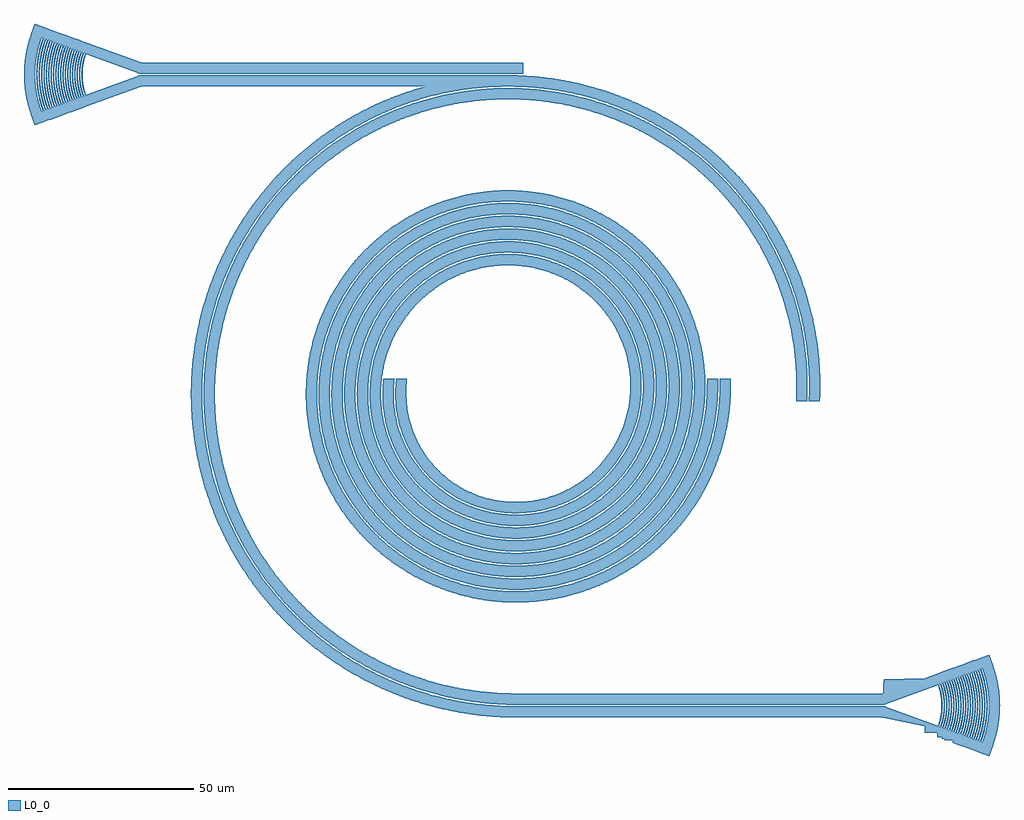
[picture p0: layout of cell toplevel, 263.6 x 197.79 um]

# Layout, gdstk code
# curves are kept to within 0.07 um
import gdstk
lib = gdstk.Library(unit=1e-6, precision=1e-09)
def P(c, l, *ps):  # polygons
    for p in ps: c.add(gdstk.Polygon(p, *l))
L0_0 = (0, 0)

toplevel = lib.new_cell('toplevel')
P(toplevel, L0_0, [(100.41,-139.581),(95.023,-139.246),(90.012,-138.443),(85.098,-137.174),(80.325,-135.451),(78.004,-134.423),(75.287,-133.046),(70.946,-130.418),(66.872,-127.392),(63.101,-123.995),(59.67,-120.256),(56.609,-116.207),(53.947,-111.887),(51.708,-107.332),(49.914,-102.584),(48.583,-97.687),(47.727,-92.684),(47.355,-87.622),(47.438,-83.055),(47.995,-78.01),(48.911,-73.535),(50.382,-68.677),(52.102,-64.445),(54.44,-59.94),(57.205,-55.684),(60.372,-51.717),(62.097,-49.855),(64.284,-47.735),(66.593,-45.747),(69.014,-43.899),(71.541,-42.197),(73.72,-40.895),(75.961,-39.701),(78.723,-38.417),(81.557,-37.299),(83.965,-36.497),(86.904,-35.694),(89.385,-35.159),(91.891,-34.747),(94.919,-34.419),(97.454,-34.284),(100.41,-34.286),(100.41,-31.285),(97.39,-31.285),(92.402,-31.656),(89.88,-32.023),(86.917,-32.61),(84.458,-33.23),(81.589,-34.111),(76.9,-35.941),(72.011,-38.416),(69.807,-39.745),(67.304,-41.435),(62.979,-44.876),(59.35,-48.387),(55.765,-52.596),(52.622,-57.142),(50.152,-61.573),(47.944,-66.617),(46.374,-71.4),(45.153,-76.819),(44.483,-82.296),(44.36,-87.831),(44.788,-93.351),(45.76,-98.802),(46.516,-101.726),(47.419,-104.578),(49.457,-109.647),(52.056,-114.628),(55.084,-119.249),(58.57,-123.573),(62.463,-127.533),(64.726,-129.511),(67.101,-131.374),(69.546,-133.09),(72.152,-134.719),(74.796,-136.181),(77.937,-137.69),(80.768,-138.854),(83.619,-139.853),(87.985,-141.065),(91.936,-141.849),(95.932,-142.352),(100.41,-142.581)],
  [(100.41,-132.682),(96.159,-132.43),(91.642,-131.735),(87.214,-130.608),(82.915,-129.057),(78.787,-127.096),(75.292,-125.023),(71.593,-122.34),(68.173,-119.308),(65.067,-115.955),(62.304,-112.315),(60.159,-108.864),(58.118,-104.774),(56.491,-100.503),(55.406,-96.588),(54.604,-92.088),(54.253,-87.531),(54.324,-83.468),(54.835,-78.926),(55.669,-74.95),(56.855,-71.063),(58.383,-67.298),(60.243,-63.685),(62.419,-60.254),(65.226,-56.646),(66.939,-54.771),(68.755,-52.995),(72.267,-50.068),(74.341,-48.602),(76.496,-47.256),(78.723,-46.035),(81.017,-44.942),(83.369,-43.983),(85.772,-43.159),(88.218,-42.474),(90.7,-41.931),(93.208,-41.53),(95.736,-41.275),(100.41,-41.188),(100.41,-38.187),(97.264,-38.191),(92.753,-38.565),(88.299,-39.371),(83.941,-40.598),(79.262,-42.443),(74.805,-44.771),(71.012,-47.266),(67.493,-50.094),(64.247,-53.25),(61.313,-56.698),(58.43,-60.865),(56.255,-64.793),(54.263,-69.412),(52.89,-73.726),(51.924,-78.149),(51.375,-82.643),(51.257,-87.672),(51.658,-92.686),(52.571,-97.633),(53.823,-101.984),(55.677,-106.66),(58.017,-111.155),(60.762,-115.326),(63.939,-119.227),(67.123,-122.446),(69.015,-124.105),(71.392,-125.967),(73.878,-127.681),(76.025,-128.992),(78.236,-130.193),(80.965,-131.485),(83.739,-132.601),(86.15,-133.418),(89.548,-134.346),(93.003,-135.033),(96.528,-135.48),(100.41,-135.682)],
  [(100.41,-125.784),(96.926,-125.575),(92.909,-124.954),(88.974,-123.932),(85.63,-122.715),(81.958,-120.97),(78.905,-119.144),(76.026,-117.053),(72.98,-114.36),(70.552,-111.76),(68.367,-108.952),(66.443,-105.958),(64.585,-102.342),(63.273,-99.034),(62.148,-95.127),(61.501,-91.628),(61.155,-87.577),(61.201,-84.019),(61.573,-80.48),(62.268,-76.99),(63.282,-73.579),(64.606,-70.276),(66.23,-67.109),(68.142,-64.108),(70.324,-61.297),(73.499,-58.003),(76.635,-55.415),(80.032,-53.178),(83.649,-51.32),(87.932,-49.711),(91.878,-48.728),(95.908,-48.179),(100.41,-48.089),(100.41,-45.089),(97.508,-45.084),(93.502,-45.425),(89.55,-46.162),(85.69,-47.29),(81.962,-48.794),(78.4,-50.659),(75.039,-52.867),(71.912,-55.394),(69.048,-58.216),(66.474,-61.305),(64.213,-64.63),(62.287,-68.16),(60.713,-71.86),(59.504,-75.695),(58.671,-79.629),(58.221,-83.625),(58.157,-87.646),(58.479,-91.655),(59.298,-96.104),(60.422,-99.965),(62.12,-104.158),(64.255,-108.147),(66.5,-111.484),(69.049,-114.594),(72.253,-117.788),(75.776,-120.626),(77.857,-122.038),(80.017,-123.325),(82.248,-124.484),(84.543,-125.511),(86.914,-126.41),(89.293,-127.156),(91.732,-127.769),(94.699,-128.316),(97.697,-128.656),(100.41,-128.783)],
  [(100.41,-118.886),(97.327,-118.681),(93.815,-118.095),(90.868,-117.297),(88.006,-116.233),(85.254,-114.911),(82.213,-113.057),(79.779,-111.215),(77.168,-108.791),(74.527,-105.695),(72.547,-102.734),(70.903,-99.574),(69.615,-96.254),(68.7,-92.811),(68.171,-89.288),(68.036,-85.729),(68.295,-82.2),(65.274,-82.2),(65.037,-85.749),(65.205,-89.762),(65.83,-93.729),(66.903,-97.6),(68.409,-101.324),(70.326,-104.854),(72.629,-108.145),(74.937,-110.797),(76.739,-112.546),(78.267,-113.852),(79.864,-115.071),(81.953,-116.465),(85.938,-118.597),(90.157,-120.217),(92.578,-120.886),(95.039,-121.387),(97.529,-121.717),(100.41,-121.884)],
  [(101.524,-135.685),(106.547,-135.392),(111.516,-134.602),(116.382,-133.323),(121.097,-131.57),(125.617,-129.36),(129.898,-126.715),(133.898,-123.663),(137.579,-120.233),(140.907,-116.459),(143.851,-112.379),(146.383,-108.031),(148.458,-103.513),(150.125,-98.701),(151.3,-93.808),(151.997,-88.825),(152.211,-83.798),(151.939,-78.773),(151.186,-73.798),(149.959,-68.917),(148.272,-64.177),(146.133,-59.607),(144.666,-57.008),(143.303,-54.865),(140.306,-50.822),(136.919,-47.062),(133.233,-43.678),(129.128,-40.575),(124.571,-37.789),(119.969,-35.561),(115.251,-33.807),(110.331,-32.49),(105.429,-31.661),(100.41,-31.285),(100.41,-34.286),(105.056,-34.637),(110.058,-35.502),(114.948,-36.863),(119.677,-38.707),(124.197,-41.017),(128.048,-43.476),(132.045,-46.605),(135.705,-50.123),(138.68,-53.591),(141.325,-57.317),(143.617,-61.269),(145.538,-65.415),(147.069,-69.72),(148.297,-74.646),(148.964,-79.166),(149.211,-83.729),(149.033,-88.295),(148.432,-92.824),(147.412,-97.278),(145.98,-101.618),(144.149,-105.804),(141.934,-109.801),(139.353,-113.572),(136.428,-117.083),(132.807,-120.642),(128.832,-123.8),(124.547,-126.523),(119.998,-128.778),(115.237,-130.539),(110.315,-131.786),(105.288,-132.503),(100.41,-132.682),(100.41,-135.682)],
  [(101.717,-128.784),(106.224,-128.487),(110.2,-127.829),(114.572,-126.66),(118.338,-125.248),(122.401,-123.256),(125.805,-121.158),(129.429,-118.408),(132.736,-115.319),(135.711,-111.909),(138.326,-108.216),(140.554,-104.277),(142.192,-100.602),(143.495,-96.796),(144.547,-92.395),(145.153,-87.91),(145.308,-83.387),(145.011,-78.871),(144.266,-74.406),(143.081,-70.038),(141.67,-66.271),(139.694,-62.199),(137.605,-58.754),(134.912,-55.123),(131.872,-51.77),(128.889,-49.038),(125.3,-46.314),(121.445,-43.942),(117.378,-41.956),(113.137,-40.373),(109.254,-39.318),(104.796,-38.533),(100.41,-38.187),(100.41,-41.188),(104.862,-41.567),(108.858,-42.304),(113.251,-43.571),(117.025,-45.078),(121.082,-47.185),(124.485,-49.407),(127.665,-51.938),(130.94,-55.128),(133.244,-57.837),(135.592,-61.155),(137.615,-64.68),(139.296,-68.38),(140.472,-71.737),(141.469,-75.677),(142.084,-79.695),(142.306,-83.245),(142.193,-87.308),(141.69,-91.341),(140.932,-94.817),(139.711,-98.693),(138.119,-102.434),(136.172,-106.002),(133.887,-109.364),(131.627,-112.11),(128.389,-115.34),(124.816,-118.192),(120.948,-120.632),(117.302,-122.429),(113.01,-124.008),(109.068,-125.001),(104.541,-125.644),(100.41,-125.784),(100.41,-128.783)],
  [(101.543,-121.889),(105.053,-121.678),(108.527,-121.133),(111.933,-120.26),(115.704,-118.872),(118.864,-117.33),(122.278,-115.211),(125.446,-112.738),(127.986,-110.306),(130.288,-107.648),(132.332,-104.786),(134.331,-101.3),(135.768,-98.09),(136.903,-94.761),(137.818,-90.848),(138.277,-87.361),(138.408,-83.344),(138.178,-79.834),(137.525,-75.868),(136.618,-72.47),(135.209,-68.705),(133.663,-65.546),(131.838,-62.539),(129.75,-59.708),(127.064,-56.717),(124.474,-54.337),(121.267,-51.913),(118.271,-50.069),(115.124,-48.498),(111.373,-47.052),(108.008,-46.108),(104.029,-45.389),(100.41,-45.089),(100.41,-48.089),(104.027,-48.414),(107.524,-49.076),(110.941,-50.071),(114.247,-51.392),(117.408,-53.027),(120.807,-55.262),(123.56,-57.518),(126.08,-60.033),(128.341,-62.782),(130.055,-65.307),(131.549,-67.967),(132.813,-70.745),(133.836,-73.62),(134.713,-77.07),(135.189,-80.085),(135.414,-83.638),(135.323,-86.688),(134.884,-90.221),(134.225,-93.201),(133.133,-96.59),(131.928,-99.394),(130.482,-102.082),(128.506,-105.043),(126.577,-107.41),(124.075,-109.943),(120.914,-112.504),(117.915,-114.425),(114.734,-116.024),(110.918,-117.435),(107.46,-118.288),(103.932,-118.774),(100.41,-118.886),(100.41,-121.884)],
  [(101.464,-142.584),(106.993,-142.282),(109.989,-141.893),(112.917,-141.357),(118.318,-139.946),(121.176,-138.967),(123.979,-137.84),(126.781,-136.538),(129.388,-135.156),(134.08,-132.21),(136.514,-130.419),(138.851,-128.505),(142.888,-124.666),(146.55,-120.446),(148.309,-118.092),(149.992,-115.583),(152.799,-110.637),(154.031,-108.042),(155.203,-105.211),(156.199,-102.404),(157.072,-99.479),(157.77,-96.611),(158.341,-93.604),(158.978,-88.06),(159.102,-85.084),(159.079,-82.2),(156.078,-82.2),(156.091,-85.6),(155.927,-88.641),(155.598,-91.668),(155.007,-95.171),(154.324,-98.139),(153.324,-101.548),(152.295,-104.414),(151.112,-107.22),(148.804,-111.739),(146.382,-115.611),(143.649,-119.271),(140.624,-122.693),(138.825,-124.483),(136.559,-126.518),(134.185,-128.426),(132.129,-129.913),(130.006,-131.304),(127.377,-132.842),(124.667,-134.232),(122.353,-135.273),(119.993,-136.207),(117.108,-137.181),(114.665,-137.87),(111.695,-138.545),(109.195,-138.981),(106.171,-139.349),(103.132,-139.548),(100.41,-139.581),(100.41,-142.581)],
  [(-22.689,-0.162),(-22.614,-1.857),(-22.412,-3.542),(-22.085,-5.206),(-21.636,-6.836),(-21.636,-5.799),(-22.002,-4.204),(-22.255,-2.548),(-22.364,-1.276),(-22.4,-0.08),(-22.364,1.276),(-22.264,2.468),(-22.017,4.125),(-21.636,5.799),(-21.636,6.836),(-22.085,5.206),(-22.437,3.382),(-22.627,1.696)],
  [(-22.049,-0.157),(-21.956,-2.039),(-21.827,-3.131),(-21.636,-4.251),(-21.636,-2.321),(-21.725,-1.239),(-21.76,-0.078),(-21.733,1.085),(-21.636,2.321),(-21.636,4.251),(-21.827,3.131),(-21.956,2.039),(-22.03,0.942)],
  [(-23.039,0.164),(-22.934,2.212),(-22.676,4.082),(-22.223,6.082),(-21.636,7.875),(-21.636,11.068),(-28.854,13.697),(-30.355,9.478),(-31.125,6.522),(-31.641,3.174),(-31.8,-0.103),(-28.8,-0.103),(-28.695,2.459),(-28.38,4.9),(-27.832,7.404),(-27.063,9.85),(-26.734,9.73),(-27.494,7.314),(-28.018,4.94),(-28.355,2.328),(-28.45,-0.1),(-28.16,-0.1),(-28.01,2.904),(-27.582,5.678),(-27.08,7.723),(-26.462,9.631),(-26.133,9.512),(-26.85,7.246),(-27.405,4.732),(-27.717,2.276),(-27.81,-0.098),(-27.52,-0.098),(-27.393,2.643),(-26.955,5.549),(-26.465,7.548),(-25.86,9.412),(-25.531,9.293),(-26.232,7.079),(-26.774,4.623),(-27.071,2.32),(-27.17,-0.096),(-26.88,-0.096),(-26.737,2.772),(-26.328,5.42),(-25.823,7.464),(-25.259,9.194),(-24.93,9.074),(-25.614,6.912),(-26.127,4.607),(-26.425,2.359),(-26.53,-0.093),(-26.24,-0.093),(-26.128,2.427),(-25.825,4.649),(-25.334,6.837),(-24.658,8.975),(-24.329,8.855),(-25.02,6.656),(-25.513,4.405),(-25.811,2.027),(-25.89,-0.091),(-25.6,-0.091),(-25.507,2.186),(-25.227,4.356),(-24.763,6.494),(-24.056,8.756),(-23.727,8.636),(-24.378,6.579),(-24.882,4.296),(-25.158,2.156),(-25.25,-0.089),(-24.96,-0.089),(-24.869,2.131),(-24.581,4.334),(-24.075,6.589),(-23.455,8.537),(-23.126,8.417),(-23.714,6.581),(-24.173,4.618),(-24.47,2.625),(-24.6,0.701),(-24.61,-0.087),(-24.32,-0.087),(-24.172,2.68),(-23.767,5.158),(-22.853,8.318),(-22.524,8.198),(-23.25,5.832),(-23.751,3.234),(-23.97,-0.084),(-23.68,-0.084),(-23.554,2.442),(-23.159,4.94),(-22.252,8.099),(-21.923,7.979),(-22.546,5.998),(-22.976,4.051),(-23.238,2.075),(-23.33,0.083),(-23.238,-2.075),(-22.976,-4.051),(-22.546,-5.998),(-21.923,-7.979),(-22.252,-8.099),(-23.105,-5.187),(-23.536,-2.609),(-23.68,-0.084),(-23.97,-0.084),(-23.727,-3.404),(-23.25,-5.832),(-22.524,-8.198),(-22.853,-8.318),(-23.525,-6.169),(-24.098,-3.282),(-24.32,-0.087),(-24.61,-0.087),(-24.505,-2.276),(-24.221,-4.36),(-23.783,-6.327),(-23.126,-8.417),(-23.455,-8.537),(-24.075,-6.589),(-24.581,-4.334),(-24.869,-2.131),(-24.96,-0.089),(-25.25,-0.089),(-25.142,-2.335),(-24.851,-4.473),(-24.378,-6.579),(-23.727,-8.636),(-24.056,-8.756),(-24.763,-6.494),(-25.227,-4.356),(-25.507,-2.186),(-25.6,-0.091),(-25.89,-0.091),(-25.779,-2.394),(-25.497,-4.496),(-25.02,-6.656),(-24.329,-8.855),(-24.658,-8.975),(-25.334,-6.837),(-25.825,-4.649),(-26.128,-2.427),(-26.24,-0.093),(-26.53,-0.093),(-26.425,-2.359),(-26.127,-4.607),(-25.614,-6.912),(-24.93,-9.074),(-25.259,-9.194),(-25.952,-7.003),(-26.472,-4.668),(-26.765,-2.486),(-26.88,-0.096),(-27.17,-0.096),(-27.071,-2.32),(-26.774,-4.623),(-26.232,-7.079),(-25.531,-9.293),(-25.86,-9.412),(-26.57,-7.17),(-27.085,-4.875),(-27.42,-2.35),(-27.52,-0.098),(-27.81,-0.098),(-27.7,-2.473),(-27.388,-4.829),(-26.85,-7.246),(-26.133,-9.512),(-26.462,-9.631),(-27.08,-7.723),(-27.582,-5.678),(-28.01,-2.904),(-28.16,-0.1),(-28.45,-0.1),(-28.319,-2.732),(-28.018,-4.94),(-27.494,-7.314),(-26.734,-9.73),(-27.063,-9.85),(-27.832,-7.404),(-28.38,-4.9),(-28.695,-2.459),(-28.8,-0.103),(-31.8,-0.103),(-31.606,-3.51),(-31.054,-6.85),(-30.252,-9.802),(-28.854,-13.697),(-21.636,-11.068),(-21.636,-7.875),(-22.223,-6.082),(-22.676,-4.082),(-22.949,-2.049)],
  [(19.532,-109.372),(18.153,-103.854),(17.095,-97.865),(16.475,-91.815),(16.293,-86.243),(16.482,-80.671),(17.112,-74.622),(18.179,-68.635),(19.532,-63.253),(19.532,-54.03),(18.084,-57.894),(16.802,-61.895),(15.717,-65.951),(14.828,-70.06),(14.216,-73.685),(13.705,-77.852),(13.398,-82.041),(13.293,-86.24),(13.482,-92.013),(14.053,-97.759),(15.005,-103.454),(16.333,-109.072),(17.863,-114.097),(19.532,-118.621)],
  [(19.532,-64.94),(18.313,-70.21),(17.423,-75.683),(16.931,-80.7),(16.743,-86.242),(16.924,-91.784),(17.473,-97.302),(18.387,-102.771),(19.532,-107.681)],
  [(-21.619,2.475),(-21.329,4.312),(-20.816,6.34),(-20.448,7.442),(-20.119,7.323),(-20.767,5.209),(-21.204,2.965),(-21.41,-0.075),(-21.12,-0.075),(-21,2.253),(-20.64,4.479),(-19.846,7.223),(-19.517,7.104),(-20.164,4.982),(-20.59,2.729),(-20.77,-0.073),(-20.48,-0.073),(-20.371,2.112),(-19.983,4.486),(-19.245,7.005),(-18.916,6.885),(-19.576,4.689),(-19.965,2.574),(-20.13,-0.071),(-19.84,-0.071),(-19.727,2.116),(-19.343,4.415),(-18.644,6.786),(-18.315,6.666),(-18.938,4.607),(-19.339,2.423),(-19.49,-0.137),(-19.2,-0.137),(-19.098,1.98),(-18.734,4.206),(-18.042,6.567),(-17.713,6.447),(-18.332,4.391),(-18.687,2.477),(-18.85,-0.132),(-18.56,-0.132),(-18.44,2.111),(-18.095,4.13),(-17.441,6.348),(-17.112,6.228),(-17.694,4.305),(-18.069,2.264),(-18.21,-0.128),(-17.92,-0.128),(-17.818,1.911),(-17.471,3.988),(-16.839,6.129),(-16.51,6.009),(-17.087,4.093),(-17.434,2.185),(-17.57,-0.123),(-17.28,-0.123),(-17.175,1.904),(-16.847,3.845),(-16.238,5.91),(-15.909,5.79),(-16.436,4.061),(-16.799,2.105),(-16.93,-0.119),(-16.64,-0.119),(-16.539,1.834),(-16.21,3.761),(-15.636,5.691),(-15.308,5.572),(-16.043,2.829),(-16.29,0.116),(-16.043,-2.829),(-15.308,-5.572),(-15.636,-5.691),(-15.986,-4.621),(-16.48,-2.304),(-16.64,-0.119),(-16.93,-0.119),(-16.673,-2.94),(-15.909,-5.79),(-16.238,-5.91),(-17.007,-3.061),(-17.28,-0.123),(-17.57,-0.123),(-17.292,-3.113),(-16.51,-6.009),(-16.839,-6.129),(-17.637,-3.175),(-17.92,-0.128),(-18.21,-0.128),(-18.12,-1.813),(-17.899,-3.354),(-17.112,-6.228),(-17.441,-6.348),(-18.255,-3.353),(-18.468,-1.848),(-18.56,-0.132),(-18.85,-0.132),(-18.564,-3.273),(-18.234,-4.781),(-17.713,-6.447),(-18.042,-6.567),(-18.872,-3.536),(-19.105,-1.912),(-19.2,-0.137),(-19.49,-0.137),(-19.413,-1.733),(-19.182,-3.453),(-18.799,-5.145),(-18.315,-6.666),(-18.644,-6.786),(-19.155,-5.169),(-19.539,-3.445),(-19.768,-1.694),(-19.84,-0.071),(-20.13,-0.071),(-20.044,-1.862),(-19.812,-3.566),(-19.435,-5.245),(-18.916,-6.885),(-19.245,-7.005),(-19.773,-5.336),(-20.169,-3.556),(-20.399,-1.821),(-20.48,-0.073),(-20.77,-0.073),(-20.688,-1.847),(-20.441,-3.68),(-20.053,-5.411),(-19.517,-7.104),(-19.846,-7.223),(-20.391,-5.503),(-20.786,-3.742),(-21.043,-1.803),(-21.12,-0.075),(-21.41,-0.075),(-21.332,-1.828),(-21.085,-3.718),(-20.671,-5.578),(-20.119,-7.323),(-20.448,-7.442),(-20.816,-6.34),(-21.329,-4.312),(-21.636,-2.321),(-21.636,-4.251),(-20.72,-7.542),(-21.049,-7.661),(-21.636,-5.799),(-21.636,-6.836),(-21.322,-7.76),(-21.636,-7.875),(-21.636,-11.068),(-0.106,-3.238),(19.532,-3.225),(19.532,-0.225),(-0.192,-0.23),(-1.199,-0.436),(-15.035,-5.472),(-15.737,-2.891),(-16,-0.114),(-15.767,2.722),(-15.035,5.472),(-1.199,0.436),(-0.192,0.23),(19.532,0.225),(19.532,3.225),(-0.106,3.238),(-21.636,11.068),(-21.636,7.875),(-21.322,7.76),(-21.636,6.836),(-21.636,5.799),(-21.049,7.661),(-20.72,7.542),(-21.636,4.251)],
  [(103,3.225),(19.532,3.225),(19.532,0.225),(100,0.225),(100.509,0.217),(101.016,0.206),(101.523,0.192),(102.029,0.175),(102.536,0.155),(103,0.134)],
  [(19.539,-63.228),(21.43,-57.448),(23.738,-51.821),(26.451,-46.377),(29.83,-40.721),(33.338,-35.753),(37.2,-31.055),(41.76,-26.3),(46.293,-22.245),(51.526,-18.241),(56.625,-14.926),(61.954,-11.995),(67.953,-9.272),(73.668,-7.192),(79.521,-5.539),(85.481,-4.323),(92.018,-3.507),(98.094,-3.222),(104.173,-3.387),(109.722,-3.935),(115.717,-4.962),(121.618,-6.432),(127.395,-8.337),(133.013,-10.667),(138.441,-13.409),(141.509,-15.193),(144.915,-17.394),(147.802,-19.457),(150.988,-21.966),(153.67,-24.29),(156.607,-27.086),(159.06,-29.65),(161.398,-32.32),(163.924,-35.492),(166.001,-38.369),(167.951,-41.334),(169.768,-44.382),(171.45,-47.506),(173.202,-51.164),(174.583,-54.433),(175.936,-58.103),(175.936,-49.929),(174.16,-46.217),(172.049,-42.328),(169.735,-38.554),(167.09,-34.724),(164.322,-31.148),(161.648,-28.038),(158.579,-24.816),(155.213,-21.644),(151.683,-18.665),(148.162,-16.004),(144.374,-13.445),(140.913,-11.357),(136.914,-9.214),(132.806,-7.288),(128.6,-5.585),(124.79,-4.263),(118.967,-2.623),(113.538,-1.489),(107.546,-0.659),(102.014,-0.275),(19.532,-0.225),(19.532,-3.225),(76.483,-3.225),(70.755,-5.006),(65.369,-7.1),(60.137,-9.552),(55.082,-12.353),(49.798,-15.788),(45.189,-19.27),(40.826,-23.055),(36.725,-27.127),(32.246,-32.28),(28.189,-37.771),(24.842,-43.112),(21.67,-49.152),(19.532,-54.03)],
  [(175.936,-167.175),(100.892,-167.182),(95.827,-167.013),(92.291,-166.708),(88.418,-166.195),(85.065,-165.598),(81.319,-164.758),(77.895,-163.826),(74.298,-162.671),(71.088,-161.482),(67.449,-159.943),(63.013,-157.776),(58.491,-155.207),(54.251,-152.429),(50.126,-149.341),(45.956,-145.769),(42.328,-142.228),(38.929,-138.468),(35.729,-134.445),(32.87,-130.349),(30.096,-125.778),(27.85,-121.489),(25.667,-116.589),(23.973,-112.031),(22.431,-106.911),(21.269,-101.884),(20.443,-96.882),(19.87,-90.827),(19.757,-84.746),(20.155,-78.169),(20.987,-72.222),(22.341,-66.052),(24.177,-60.01),(26.438,-54.237),(29.085,-48.761),(32.142,-43.503),(35.592,-38.493),(39.414,-33.761),(43.805,-29.122),(48.475,-24.918),(53.511,-21.063),(58.828,-17.629),(64.181,-14.74),(68.356,-12.839),(72.587,-11.2),(77.051,-9.764),(81.777,-8.555),(86.32,-7.681),(90.858,-7.08),(95.388,-6.746),(99.955,-6.674),(104.435,-6.862),(109.265,-7.354),(113.558,-8.048),(118.013,-9.031),(122.404,-10.272),(126.649,-11.742),(130.931,-13.51),(135.038,-15.497),(139.022,-17.721),(142.869,-20.174),(146.566,-22.849),(150.099,-25.735),(153.475,-28.841),(156.629,-32.104),(159.679,-35.661),(162.366,-39.195),(164.912,-42.981),(167.23,-46.911),(169.313,-50.971),(171.197,-55.256),(172.742,-59.423),(174.076,-63.786),(175.15,-68.221),(175.936,-72.56),(175.936,-59.531),(173.787,-53.665),(172.374,-50.432),(170.586,-46.817),(168.875,-43.731),(167.029,-40.723),(165.054,-37.799),(162.642,-34.567),(160.401,-31.841),(158.043,-29.216),(155.211,-26.345),(152.617,-23.952),(149.528,-21.359),(146.314,-18.924),(142.982,-16.651),(139.542,-14.548),(136,-12.618),(132.367,-10.867),(128.652,-9.299),(124.863,-7.918),(121.01,-6.726),(117.103,-5.727),(113.151,-4.923),(109.164,-4.316),(105.152,-3.908),(101.124,-3.698),(97.595,-3.678),(93.566,-3.842),(89.549,-4.206),(85.555,-4.767),(81.594,-5.524),(77.675,-6.476),(73.808,-7.62),(70.001,-8.952),(66.265,-10.471),(62.608,-12.171),(59.039,-14.05),(55.567,-16.101),(52.199,-18.32),(48.944,-20.701),(45.81,-23.24),(42.804,-25.928),(38.893,-29.859),(34.939,-34.436),(31.617,-38.876),(28.342,-43.962),(25.674,-48.823),(23.142,-54.317),(21.179,-59.503),(19.532,-64.94),(19.532,-107.681),(21.131,-112.991),(22.887,-117.716),(24.924,-122.327),(27.236,-126.808),(29.812,-131.141),(32.644,-135.312),(35.721,-139.305),(39.376,-143.475),(44.038,-148.08),(46.693,-150.406),(49.443,-152.618),(54.786,-156.413),(57.78,-158.281),(60.85,-160.022),(63.99,-161.633),(67.194,-163.112),(73.297,-165.499),(76.655,-166.586),(80.055,-167.533),(86.462,-168.911),(89.95,-169.447),(93.458,-169.838),(100,-170.175),(175.936,-170.175)],
  [(175.936,-170.625),(100,-170.625),(96.452,-170.506),(92.914,-170.239),(89.39,-169.826),(82.904,-168.67),(76.527,-167.018),(73.151,-165.925),(69.824,-164.692),(65.627,-162.905),(61.084,-160.658),(57.116,-158.407),(52.857,-155.661),(48.769,-152.665),(45.249,-149.763),(41.528,-146.322),(38.019,-142.665),(34.736,-138.803),(31.984,-135.165),(29.433,-131.384),(26.843,-127.027),(24.519,-122.523),(22.663,-118.356),(21.035,-114.094),(19.532,-109.372),(19.532,-118.621),(20.504,-120.951),(23.466,-127.096),(26.621,-132.55),(30.161,-137.762),(34.062,-142.7),(37.582,-146.598),(41.713,-150.629),(45.69,-154.051),(49.869,-157.23),(54.671,-160.429),(59.211,-163.058),(63.9,-165.412),(68.723,-167.483),(72.168,-168.759),(75.662,-169.891),(79.202,-170.876),(83.292,-171.82),(86.903,-172.485),(90.54,-173),(94.195,-173.362),(98.385,-173.591),(175.936,-173.625)],
  [(183.157,-88.19),(183.252,-83.15),(183.048,-78.195),(182.592,-73.598),(181.803,-68.601),(180.72,-63.695),(179.34,-58.847),(177.72,-54.22),(175.936,-49.929),(175.936,-58.103),(177.19,-62.11),(178.313,-66.532),(179.183,-71.011),(179.799,-75.531),(180.233,-82.106),(180.152,-88.2)],
  [(179.704,-88.166),(179.808,-84.135),(179.731,-80.607),(179.499,-77.086),(179.111,-73.578),(178.569,-70.091),(177.874,-66.632),(177.027,-63.206),(175.936,-59.531),(175.936,-72.56),(176.404,-76.232),(176.713,-80.276),(176.807,-83.824),(176.747,-88.2)],
  [(211.508,-177.785),(214.855,-177.942),(214.824,-178.988),(216.185,-179.036),(216.062,-179.438),(216.783,-179.474),(216.871,-179.74),(218.991,-179.912),(219.042,-180.525),(221.541,-181.433),(221.541,-178.24),(221.322,-178.16),(221.541,-177.528),(221.541,-176.544),(221.049,-178.061),(220.72,-177.942),(221.541,-175.11),(221.541,-173.482),(221.197,-175.318),(220.627,-177.33),(220.448,-177.842),(220.119,-177.723),(220.671,-175.978),(221.085,-174.118),(221.332,-172.228),(221.41,-170.476),(221.332,-168.572),(221.085,-166.682),(220.671,-164.822),(220.119,-163.077),(220.448,-162.958),(220.627,-163.47),(221.197,-165.482),(221.541,-167.318),(221.541,-165.69),(220.72,-162.858),(221.049,-162.739),(221.541,-164.256),(221.541,-163.272),(221.322,-162.64),(221.541,-162.56),(221.541,-159.367),(211.509,-163.019),(200.509,-163.296),(219.517,-163.296),(219.846,-163.177),(220.391,-164.897),(220.786,-166.658),(221.043,-168.597),(221.12,-170.325),(221.043,-172.203),(220.825,-173.919),(220.391,-175.903),(219.846,-177.623),(219.517,-177.504),(220.091,-175.668),(220.504,-173.715),(220.722,-171.805),(220.764,-169.882),(220.415,-166.575),(219.517,-163.296),(200.509,-163.296),(200.47,-163.515),(218.916,-163.515),(219.245,-163.395),(219.773,-165.064),(220.169,-166.844),(220.399,-168.579),(220.48,-170.327),(220.423,-171.93),(220.194,-173.813),(219.792,-175.665),(219.245,-177.405),(218.916,-177.285),(219.472,-175.506),(219.849,-173.754),(220.074,-171.904),(220.124,-169.898),(219.786,-166.693),(218.916,-163.515),(200.47,-163.515),(200.43,-163.734),(218.315,-163.734),(218.644,-163.614),(219.155,-165.231),(219.539,-166.955),(219.768,-168.706),(219.84,-170.329),(219.768,-172.094),(219.539,-173.845),(219.155,-175.569),(218.644,-177.186),(218.315,-177.066),(218.853,-175.344),(219.218,-173.648),(219.436,-171.856),(219.486,-169.984),(219.157,-166.811),(218.315,-163.734),(200.43,-163.734),(200.391,-163.953),(217.713,-163.953),(218.042,-163.833),(218.872,-166.864),(219.105,-168.488),(219.2,-170.263),(219.136,-171.971),(218.932,-173.599),(218.555,-175.336),(218.042,-176.967),(217.713,-176.847),(218.234,-175.181),(218.598,-173.475),(218.807,-171.675),(218.846,-169.997),(218.528,-166.929),(217.713,-163.953),(200.391,-163.953),(200.351,-164.172),(217.112,-164.172),(217.441,-164.052),(218.255,-167.047),(218.468,-168.552),(218.56,-170.268),(218.498,-171.919),(218.301,-173.493),(217.97,-175.044),(217.441,-176.748),(217.112,-176.628),(217.631,-174.956),(217.977,-173.306),(218.173,-171.567),(218.203,-169.881),(217.899,-167.046),(217.112,-164.172),(200.351,-164.172),(200.312,-164.391),(216.51,-164.391),(216.839,-164.271),(217.637,-167.225),(217.92,-170.272),(217.855,-171.93),(217.659,-173.449),(217.318,-175.007),(216.839,-176.529),(216.51,-176.409),(217.027,-174.736),(217.335,-173.266),(217.53,-171.588),(217.565,-169.962),(217.258,-167.103),(216.51,-164.391),(200.312,-164.391),(200.272,-164.61),(215.909,-164.61),(216.238,-164.49),(217.007,-167.339),(217.28,-170.277),(217.049,-173.219),(216.715,-174.783),(216.238,-176.31),(215.909,-176.19),(216.361,-174.753),(216.723,-173.042),(216.925,-169.978),(216.618,-167.164),(215.909,-164.61),(200.272,-164.61),(200.24,-164.828),(215.308,-164.828),(215.636,-164.709),(216.377,-167.452),(216.64,-170.281),(216.569,-171.939),(216.377,-173.348),(215.636,-176.091),(215.308,-175.972),(216.072,-173.057),(216.257,-171.444),(216.282,-169.878),(216.001,-167.343),(215.308,-164.828),(200.24,-164.828),(200.244,-167.119),(200.039,-167.172),(175.936,-167.175),(175.936,-170.175),(200.192,-170.17),(201.199,-169.964),(215.035,-164.928),(215.737,-167.509),(216,-170.286),(215.767,-173.122),(215.035,-175.872),(201.199,-170.836),(200.452,-170.654),(175.936,-170.625),(175.936,-173.625),(200.067,-173.631),(211.487,-175.972)],
  [(229.918,-181.177),(230.845,-178.138),(231.429,-175.247),(231.755,-172.1),(231.771,-169.037),(231.493,-165.988),(230.952,-163.102),(230.178,-160.372),(228.854,-156.703),(221.541,-159.367),(221.541,-162.56),(221.651,-162.52),(221.992,-163.53),(222.631,-166.076),(222.934,-168.188),(223.04,-170.318),(222.934,-172.612),(222.631,-174.724),(222.088,-176.956),(221.541,-178.379),(221.923,-178.379),(222.708,-175.753),(223.149,-173.301),(223.325,-170.899),(223.277,-168.822),(223.018,-166.595),(222.567,-164.482),(221.923,-162.421),(222.252,-162.301),(223.105,-165.213),(223.536,-167.791),(223.68,-170.316),(223.486,-173.428),(222.906,-176.407),(222.252,-178.499),(221.541,-178.379),(221.541,-178.598),(222.524,-178.598),(222.611,-178.357),(223.495,-175.15),(223.921,-171.936),(223.952,-169.461),(223.715,-166.912),(223.25,-164.568),(222.524,-162.202),(222.853,-162.082),(223.767,-165.242),(224.172,-167.72),(224.32,-170.313),(224.252,-172.217),(224.022,-174.196),(223.631,-176.149),(223.135,-177.899),(222.853,-178.718),(222.524,-178.598),(221.541,-178.598),(221.541,-178.817),(223.126,-178.817),(223.993,-175.876),(224.505,-172.676),(224.608,-170.049),(224.397,-167.166),(223.913,-164.582),(223.126,-161.983),(223.455,-161.863),(224.373,-165.019),(224.818,-167.738),(224.96,-170.311),(224.869,-172.531),(224.581,-174.734),(224.075,-176.989),(223.455,-178.937),(223.126,-178.817),(221.541,-178.817),(221.541,-179.036),(223.727,-179.036),(224.513,-176.456),(225.043,-173.629),(225.249,-170.67),(225.106,-167.707),(224.597,-164.694),(223.727,-161.764),(224.056,-161.644),(225.018,-164.97),(225.464,-167.76),(225.6,-170.309),(225.507,-172.586),(225.227,-174.756),(224.763,-176.894),(224.056,-179.156),(223.727,-179.036),(221.541,-179.036),(221.541,-179.255),(224.329,-179.255),(225.089,-176.789),(225.573,-174.441),(225.877,-171.23),(225.779,-168.006),(225.241,-164.639),(224.329,-161.545),(224.658,-161.425),(225.663,-164.926),(226.11,-167.787),(226.24,-170.307),(226.128,-172.827),(225.825,-175.049),(225.334,-177.237),(224.658,-179.375),(224.329,-179.255),(221.541,-179.255),(221.541,-179.474),(224.93,-179.474),(225.564,-177.494),(226.059,-175.379),(226.487,-171.911),(226.449,-168.323),(225.926,-164.773),(224.93,-161.326),(225.259,-161.206),(226.289,-164.793),(226.727,-167.533),(226.88,-170.304),(226.782,-172.695),(226.472,-175.068),(225.952,-177.403),(225.259,-179.594),(224.93,-179.474),(221.541,-179.474),(221.541,-179.693),(225.531,-179.693),(226.552,-176.163),(227.087,-172.527),(227.17,-170.497),(227.108,-168.563),(226.895,-166.542),(226.552,-164.637),(225.531,-161.107),(225.86,-160.988),(226.915,-164.659),(227.363,-167.465),(227.52,-170.302),(227.42,-172.75),(227.119,-175.082),(226.57,-177.57),(225.86,-179.812),(225.531,-179.693),(221.541,-179.693),(221.541,-179.912),(226.133,-179.912),(227.022,-176.974),(227.438,-174.936),(227.691,-172.972),(227.806,-170.895),(227.765,-168.816),(227.582,-166.844),(227.239,-164.792),(226.771,-162.868),(226.133,-160.888),(226.462,-160.769),(227.498,-164.33),(227.989,-167.297),(228.16,-170.3),(228.066,-172.704),(227.715,-175.389),(227.161,-177.834),(226.462,-180.031),(226.133,-179.912),(221.541,-179.912),(221.541,-180.13),(226.734,-180.13),(227.494,-177.714),(227.982,-175.54),(228.288,-173.434),(228.432,-171.413),(228.42,-169.083),(228.242,-166.963),(227.906,-164.862),(227.387,-162.695),(226.734,-160.67),(227.063,-160.55),(227.696,-162.501),(228.188,-164.492),(228.636,-167.328),(228.8,-170.297),(228.695,-172.859),(228.38,-175.3),(227.832,-177.804),(227.063,-180.25),(226.734,-180.13),(221.541,-180.13),(221.541,-181.433),(228.854,-184.097)],
  [(221.634,-177.242),(222.085,-175.606),(222.437,-173.782),(222.627,-172.096),(222.689,-170.158),(222.593,-168.302),(222.373,-166.619),(222.028,-164.958),(221.541,-163.272),(221.541,-164.256),(221.972,-166.04),(222.236,-167.694),(222.349,-168.885),(222.399,-170.161),(222.364,-171.676),(222.206,-173.344),(221.924,-174.995),(221.541,-176.544),(221.541,-177.528)],
  [(221.548,-175.077),(221.755,-173.997),(221.916,-172.83),(222.019,-171.578),(222.05,-170.321),(222.019,-169.222),(221.916,-167.97),(221.755,-166.803),(221.541,-165.69),(221.541,-167.318),(221.705,-168.851),(221.76,-170.322),(221.705,-171.949),(221.541,-173.482)],
  [(100.093,-136.127),(95.448,-135.822),(90.713,-135.065),(86.076,-133.866),(81.722,-132.296),(77.35,-130.238),(73.21,-127.782),(69.12,-124.776),(65.716,-121.728),(62.276,-117.995),(59.519,-114.352),(57.106,-110.472),(54.856,-105.921),(53.237,-101.648),(51.908,-96.749),(51.148,-92.243),(50.807,-87.687),(50.891,-83.118),(51.398,-78.577),(52.326,-74.103),(53.667,-69.735),(55.41,-65.511),(57.542,-61.469),(60.043,-57.645),(62.893,-54.073),(66.439,-50.439),(68.35,-48.767),(70.755,-46.897),(75.012,-44.129),(79.536,-41.826),(84.279,-40.014),(86.716,-39.299),(89.685,-38.614),(94.712,-37.897),(97.246,-37.741),(100.093,-37.728),(100.093,-34.728),(97.469,-34.733),(92.454,-35.126),(87.502,-36.015),(82.662,-37.39),(77.981,-39.236),(73.506,-41.535),(69.279,-44.264),(65.339,-47.394),(61.726,-50.895),(58.472,-54.734),(55.609,-58.871),(53.162,-63.267),(51.154,-67.881),(49.602,-72.668),(48.522,-77.582),(47.921,-82.578),(47.805,-87.609),(48.173,-92.628),(49.022,-97.588),(49.758,-100.517),(50.499,-102.922),(52.322,-107.612),(54.585,-112.107),(55.874,-114.268),(57.556,-116.777),(60.666,-120.733),(62.708,-122.958),(64.504,-124.721),(66.767,-126.722),(69.139,-128.591),(71.614,-130.322),(74.183,-131.911),(76.39,-133.122),(79.109,-134.436),(81.898,-135.594),(84.749,-136.593),(88.628,-137.672),(92.08,-138.376),(96.073,-138.901),(100.093,-139.127)],
  [(100.093,-129.227),(95.642,-128.899),(91.637,-128.209),(87.714,-127.15),(83.905,-125.731),(80.246,-123.964),(76.767,-121.863),(73.5,-119.446),(70.474,-116.733),(67.716,-113.747),(65.252,-110.515),(63.104,-107.064),(61.091,-102.96),(59.679,-99.149),(58.635,-95.22),(57.972,-91.21),(57.694,-87.155),(57.807,-83.092),(58.31,-79.059),(59.13,-75.351),(60.289,-71.707),(61.662,-68.425),(63.566,-64.834),(65.511,-61.856),(68.036,-58.67),(71.234,-55.401),(74.772,-52.505),(78.609,-50.018),(82.698,-47.971),(86.99,-46.392),(91.431,-45.302),(95.966,-44.716),(100.093,-44.628),(100.093,-41.628),(97.78,-41.626),(93.768,-41.914),(89.308,-42.678),(85.428,-43.74),(81.201,-45.353),(77.599,-47.144),(73.761,-49.542),(70.188,-52.319),(66.917,-55.445),(63.98,-58.888),(61.674,-62.184),(59.446,-66.123),(57.627,-70.267),(56.233,-74.573),(55.364,-78.5),(54.808,-82.992),(54.703,-87.516),(55.05,-92.029),(55.844,-96.484),(57.077,-100.839),(58.734,-105.051),(60.799,-109.078),(63.251,-112.883),(66.065,-116.428),(69.582,-120.022),(73.469,-123.213),(75.536,-124.645),(78.115,-126.213),(82.622,-128.444),(87.343,-130.177),(90.256,-130.969),(93.71,-131.653),(96.704,-132.032),(100.093,-132.227)],
  [(100.093,-122.327),(96.983,-122.112),(93.468,-121.548),(90.025,-120.647),(86.684,-119.418),(83.927,-118.111),(80.861,-116.303),(77.986,-114.204),(75.33,-111.835),(73.247,-109.605),(71.064,-106.793),(69.17,-103.779),(67.582,-100.593),(66.478,-97.748),(65.502,-94.324),(64.872,-90.82),(64.614,-87.78),(64.644,-84.22),(64.955,-81.183),(65.647,-77.691),(66.52,-74.767),(67.854,-71.466),(69.261,-68.757),(70.899,-66.182),(72.757,-63.76),(75.183,-61.155),(78.268,-58.501),(81.644,-56.23),(84.801,-54.584),(88.597,-53.116),(92.54,-52.112),(96.068,-51.626),(100.093,-51.529),(100.093,-48.529),(97.452,-48.537),(93.949,-48.844),(90.003,-49.601),(86.635,-50.612),(83.379,-51.938),(80.261,-53.565),(77.311,-55.479),(74.554,-57.662),(71.67,-60.46),(69.101,-63.55),(67.134,-66.465),(65.228,-70.004),(63.876,-73.25),(62.83,-76.608),(62.018,-80.544),(61.651,-84.042),(61.605,-87.559),(61.881,-91.065),(62.586,-95.022),(63.698,-98.885),(65.204,-102.611),(67.086,-106.163),(69.324,-109.502),(71.893,-112.594),(74.39,-115.071),(77.908,-117.912),(81.729,-120.331),(85.8,-122.299),(90.069,-123.791),(92.505,-124.408),(94.976,-124.87),(97.47,-125.176),(100.093,-125.326)],
  [(100.093,-115.428),(97.258,-115.197),(94.56,-114.726),(91.919,-114.011),(88.931,-112.874),(86.09,-111.428),(83.789,-109.95),(81.636,-108.267),(79.333,-106.063),(77.285,-103.622),(75.514,-100.973),(74.044,-98.148),(72.895,-95.182),(72.078,-92.106),(71.606,-88.962),(71.481,-86.241),(71.598,-82.2),(68.749,-82.2),(68.486,-85.733),(68.619,-89.243),(69.14,-92.716),(70.042,-96.111),(71.311,-99.386),(72.933,-102.502),(74.885,-105.422),(77.143,-108.113),(78.561,-109.535),(80.452,-111.185),(83.726,-113.507),(87.261,-115.411),(91.002,-116.867),(92.932,-117.422),(95.386,-117.948),(97.874,-118.286),(100.093,-118.427)],
  [(101.73,-132.234),(106.748,-131.898),(111.21,-131.14),(115.58,-129.959),(119.818,-128.366),(123.884,-126.377),(128.158,-123.725),(132.129,-120.637),(135.407,-117.516),(138.377,-114.099),(141.012,-110.417),(143.289,-106.505),(145.377,-101.928),(146.978,-97.16),(147.989,-92.747),(148.585,-88.259),(148.755,-83.231),(148.464,-78.713),(147.756,-74.241),(146.639,-69.853),(144.929,-65.122),(142.746,-60.591),(140.395,-56.721),(137.379,-52.694),(134.328,-49.349),(130.597,-45.975),(126.962,-43.274),(122.655,-40.674),(118.573,-38.716),(114.33,-37.134),(109.47,-35.833),(104.504,-35.025),(100.093,-34.728),(100.093,-37.728),(104.85,-38.087),(109.351,-38.878),(113.754,-40.101),(118.019,-41.744),(122.104,-43.794),(125.97,-46.231),(129.964,-49.367),(133.248,-52.545),(135.894,-55.628),(138.536,-59.357),(140.566,-62.877),(142.28,-66.561),(143.812,-70.866),(144.81,-74.805),(145.457,-78.816),(145.756,-83.316),(145.641,-87.439),(145.165,-91.474),(144.202,-95.942),(142.973,-99.815),(141.183,-104.021),(139.242,-107.591),(136.989,-110.972),(134.102,-114.516),(130.869,-117.748),(128.937,-119.396),(126.913,-120.932),(123.065,-123.398),(118.629,-125.612),(114.228,-127.241),(109.799,-128.372),(104.934,-129.071),(100.093,-129.227),(100.093,-132.227)],
  [(101.487,-125.338),(105.5,-125.098),(109.47,-124.459),(113.356,-123.428),(117.121,-122.017),(120.727,-120.24),(124.141,-118.116),(127.329,-115.666),(130.262,-112.915),(132.911,-109.891),(135.252,-106.621),(137.264,-103.14),(138.928,-99.479),(140.229,-95.674),(141.157,-91.762),(141.703,-87.777),(141.856,-83.257),(141.582,-79.244),(140.925,-75.277),(139.893,-71.39),(138.496,-67.619),(136.747,-63.998),(134.662,-60.558),(132.262,-57.331),(129.569,-54.345),(126.606,-51.625),(123.401,-49.194),(119.983,-47.075),(115.921,-45.084),(112.152,-43.679),(108.268,-42.631),(104.305,-41.948),(100.093,-41.628),(100.093,-44.628),(104.084,-44.943),(108.085,-45.665),(111.992,-46.786),(115.767,-48.295),(119.37,-50.18),(122.763,-52.42),(125.531,-54.654),(128.436,-57.499),(130.728,-60.221),(132.765,-63.138),(134.532,-66.226),(136.014,-69.461),(137.196,-72.817),(138.069,-76.267),(138.625,-79.781),(138.858,-83.332),(138.726,-87.396),(138.261,-90.924),(137.474,-94.394),(136.371,-97.777),(134.96,-101.044),(133.252,-104.166),(131.262,-107.116),(129.005,-109.868),(126.125,-112.738),(122.953,-115.284),(119.527,-117.475),(115.885,-119.284),(112.068,-120.689),(108.122,-121.672),(104.092,-122.221),(100.093,-122.327),(100.093,-125.326)],
  [(101.886,-118.434),(104.891,-118.226),(108.356,-117.643),(111.741,-116.7),(114.55,-115.614),(117.69,-114.035),(120.649,-112.14),(123.018,-110.279),(125.56,-107.853),(127.84,-105.178),(129.567,-102.71),(131.299,-99.652),(132.711,-96.434),(133.656,-93.573),(134.44,-90.146),(134.874,-86.658),(134.954,-83.145),(134.682,-79.64),(134.17,-76.671),(133.255,-73.277),(132.007,-69.991),(130.44,-66.844),(128.569,-63.868),(126.738,-61.474),(124.357,-58.888),(122.122,-56.866),(119.312,-54.754),(116.309,-52.926),(113.143,-51.397),(110.322,-50.337),(106.933,-49.4),(103.47,-48.794),(100.093,-48.529),(100.093,-51.529),(103.683,-51.848),(106.681,-52.42),(109.616,-53.262),(112.925,-54.579),(116.074,-56.243),(118.617,-57.932),(121.372,-60.189),(123.528,-62.351),(125.473,-64.705),(127.19,-67.23),(128.435,-69.449),(129.694,-72.231),(130.685,-75.119),(131.3,-77.589),(131.718,-80.099),(131.955,-83.144),(131.93,-85.689),(131.632,-88.728),(131.044,-91.725),(130.171,-94.652),(129.019,-97.48),(127.599,-100.184),(126.219,-102.323),(124.34,-104.731),(121.864,-107.292),(119.519,-109.25),(116.556,-111.228),(113.384,-112.851),(110.531,-113.942),(107.085,-114.848),(103.556,-115.345),(100.093,-115.428),(100.093,-118.427)],
  [(101.604,-139.134),(106.628,-138.852),(109.623,-138.459),(112.099,-138.004),(115.038,-137.307),(117.454,-136.602),(122.639,-134.662),(125.376,-133.384),(127.599,-132.204),(130.193,-130.655),(132.285,-129.256),(136.649,-125.849),(140.645,-122.018),(144.235,-117.804),(147.383,-113.25),(149.835,-108.854),(152.056,-103.783),(153.759,-98.515),(154.927,-93.103),(155.551,-87.602),(155.628,-82.2),(152.718,-82.2),(152.446,-88.864),(152.155,-91.385),(151.646,-94.389),(150.963,-97.357),(150.109,-100.281),(149.086,-103.15),(147.898,-105.955),(146.063,-109.578),(143.668,-113.468),(140.941,-117.134),(138.255,-120.179),(134.576,-123.676),(132.21,-125.594),(130.155,-127.085),(125.837,-129.753),(123.127,-131.145),(120.809,-132.181),(116.035,-133.903),(113.096,-134.706),(110.615,-135.241),(105.587,-135.939),(103.053,-136.099),(100.093,-136.127),(100.093,-139.127)])

lib.write_gds('toplevel.gds')
